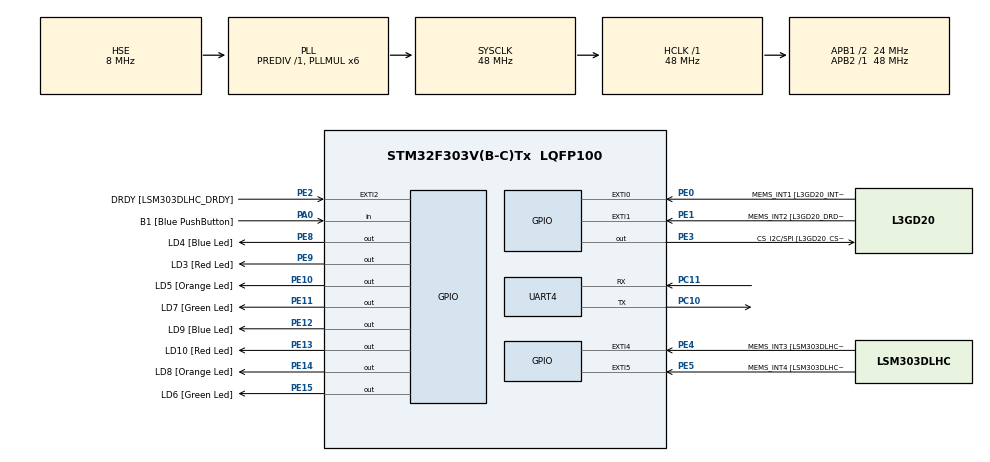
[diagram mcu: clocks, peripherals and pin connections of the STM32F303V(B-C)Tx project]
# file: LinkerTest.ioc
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Mcu.Family=STM32F3
Mcu.Name=STM32F303V(B-C)Tx
Mcu.Package=LQFP100
NVIC.PriorityGroup=NVIC_PRIORITYGROUP_0
PA0.GPIO_Label=B1 [Blue PushButton]
PA0.Signal=GPIO_Input
PA11.GPIO_Label=DM
PA11.Signal=USB_DM
PA12.GPIO_Label=DP
PA12.Signal=USB_DP
PA13.GPIO_Label=SWDIO
PA13.Mode=Serial_Wire
PA13.Signal=SYS_JTMS-SWDIO
PA14.GPIO_Label=SWCLK
PA14.Mode=Serial_Wire
PA14.Signal=SYS_JTCK-SWCLK
PA5.GPIO_Label=SPI1_SCK [L3GD20_SCL/SPC]
PA5.Signal=SPI1_SCK
PA6.GPIO_Label=SPI1_MISO [L3GD20_SA0/SDO]
PA6.Signal=SPI1_MISO
PA7.GPIO_Label=SPI1_MISO [L3GD20_SDA/SDI/SDO]
PA7.Signal=SPI1_MOSI
PB3.GPIO_Label=SWO
PB3.Signal=SYS_JTDO-TRACESWO
PB6.GPIO_Label=I2C1_SCL [LSM303DLHC_SCL]
PB6.GPIO_Pu=GPIO_PULLUP
PB6.Signal=I2C1_SCL
PB7.GPIO_Label=I2C1_SDA [LSM303DLHC_SDA]
PB7.GPIO_Pu=GPIO_PULLUP
PB7.Signal=I2C1_SDA
PC10.Mode=Asynchronous
PC10.Signal=UART4_TX
PC11.Mode=Asynchronous
PC11.Signal=UART4_RX
PC14-OSC32_IN.GPIO_Label=OSC32_IN
PC14-OSC32_IN.Signal=RCC_OSC32_IN
PC15-OSC32_OUT.GPIO_Label=OSC32_OUT
PC15-OSC32_OUT.Signal=RCC_OSC32_OUT
PE0.GPIO_Label=MEMS_INT1 [L3GD20_INT1]
PE0.GPIO_ModeDefaultEXTI=GPIO_MODE_EVT_RISING
PE0.Signal=GPXTI0
PE1.GPIO_Label=MEMS_INT2 [L3GD20_DRDY/INT2]
PE1.GPIO_ModeDefaultEXTI=GPIO_MODE_EVT_RISING
PE1.Signal=GPXTI1
PE10.GPIO_Label=LD5 [Orange Led]
PE10.Signal=GPIO_Output
PE11.GPIO_Label=LD7 [Green Led]
PE11.Signal=GPIO_Output
PE12.GPIO_Label=LD9 [Blue Led]
PE12.Signal=GPIO_Output
PE13.GPIO_Label=LD10 [Red Led]
PE13.Signal=GPIO_Output
PE14.GPIO_Label=LD8 [Orange Led]
PE14.Signal=GPIO_Output
PE15.GPIO_Label=LD6 [Green Led]
PE15.Signal=GPIO_Output
PE2.GPIO_Label=DRDY [LSM303DLHC_DRDY]
PE2.GPIO_ModeDefaultEXTI=GPIO_MODE_EVT_RISING
PE2.Signal=GPXTI2
PE3.GPIO_Label=CS_I2C/SPI [L3GD20_CS_I2C/SPI]
PE3.Signal=GPIO_Output
PE4.GPIO_Label=MEMS_INT3 [LSM303DLHC_INT1]
PE4.GPIO_ModeDefaultEXTI=GPIO_MODE_EVT_RISING
PE4.Signal=GPXTI4
PE5.GPIO_Label=MEMS_INT4 [LSM303DLHC_INT2]
PE5.GPIO_ModeDefaultEXTI=GPIO_MODE_EVT_RISING
PE5.Signal=GPXTI5
PE8.GPIO_Label=LD4 [Blue Led]
PE8.Signal=GPIO_Output
PE9.GPIO_Label=LD3 [Red Led]
PE9.Signal=GPIO_Output
PF0-OSC_IN.GPIO_Label=OSC_IN
PF0-OSC_IN.Mode=HSE-External-Clock-Source
PF0-OSC_IN.Signal=RCC_OSC_IN
PF1-OSC_OUT.GPIO_Label=OSC_OUT
PF1-OSC_OUT.Signal=RCC_OSC_OUT
ProjectManager.HeapSize=0x200
ProjectManager.StackSize=0x400
ProjectManager.TargetToolchain=STM32CubeIDE
RCC.AHBFreq_Value=48000000
RCC.APB1CLKDivider=RCC_HCLK_DIV2
RCC.APB1Freq_Value=24000000
RCC.APB1TimFreq_Value=48000000
RCC.APB2Freq_Value=48000000
RCC.APB2TimFreq_Value=48000000
RCC.CortexFreq_Value=48000000
RCC.HCLKFreq_Value=48000000
RCC.HSE_VALUE=8000000
RCC.HSI_VALUE=8000000
RCC.LSE_VALUE=32768
RCC.PLLMUL=RCC_PLL_MUL6
RCC.PLLSourceVirtual=RCC_PLLSOURCE_HSE
RCC.SYSCLKFreq_VALUE=48000000
RCC.SYSCLKSourceVirtual=RCC_SYSCLKSOURCE_PLLCLK
RCC.USBFreq_Value=48000000
board=STM32F3DISCOVERY

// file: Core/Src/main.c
/* USER CODE BEGIN Header */
/**
  ******************************************************************************
  * @file           : main.c
  * @brief          : Main program body
  ******************************************************************************
  * @attention
  *
  * Copyright (c) 2025 STMicroelectronics.
  * All rights reserved.
  *
  * This software is licensed under terms that can be found in the LICENSE file
  * in the root directory of this software component.
  * If no LICENSE file comes with this software, it is provided AS-IS.
  *
  ******************************************************************************
  */
/* USER CODE END Header */
#include "main.h"
#include "string.h"

/* USER CODE BEGIN PTD */
typedef void (*pFunction)(void);
/* USER CODE END PTD */

UART_HandleTypeDef huart4;

/* USER CODE BEGIN PV */
#define APP_ADDRESS 0x08004000 //Origin of main app.
//#define FLASH_PAGE_SIZE    2048 -
#define MAX_APP_FLASH_SIZE  (256 * 1024 - 16 * 1024) // bootloader 16KB
#define UART_TIMEOUT        1000

/* USER CODE END PV */

void SystemClock_Config(void);
static void MX_GPIO_Init(void);
static void MX_UART4_Init(void);
/* USER CODE BEGIN PFP */
void jump_to_app(void);
uint8_t is_app_valid(void);
void receive_firmware(void);
void erase_app_flash(void);
uint32_t calculate_crc32(uint8_t *data, uint32_t length);  // CRC funkcija

/* USER CODE END PFP */

/* USER CODE BEGIN 0 */
//The origin of the code and Vector table has offset, defined in .ld
/* USER CODE END 0 */

int main(void)
{

  /* MCU Configuration--------------------------------------------------------*/

  /* Reset of all peripherals, Initializes the Flash interface and the Systick. */
  HAL_Init();

  /* Configure the system clock */
  SystemClock_Config();

  /* Initialize all configured peripherals */
  MX_GPIO_Init();
  MX_UART4_Init();
  /* USER CODE BEGIN 2 */
  uint8_t received = 0;
  const char *msg = "BOOT... Wait U-update, E-erase ...\r\n";
  HAL_UART_Transmit(&huart4, (uint8_t *)msg, strlen(msg), HAL_MAX_DELAY);
  HAL_UART_Receive(&huart4, &received, 1, 10000);  // Wait 3s

  if (received == 'U')
  {
      // FW update
      receive_firmware();

      // After update, reset MCU
      NVIC_SystemReset();
  }
  else if (received == 'E')
  {
          erase_app_flash();
          NVIC_SystemReset();
  }
  else
  {
      if (is_app_valid()) {
          jump_to_app();
      } else {
          const char *msg = "No App!\r\n";
          HAL_UART_Transmit(&huart4, (uint8_t *)msg, strlen(msg), HAL_MAX_DELAY);
          while(1);
      }
  }

  /* USER CODE END 2 */

  /* Infinite loop */
  while (1)
  {
  }
}

void SystemClock_Config(void)
{
  RCC_OscInitTypeDef RCC_OscInitStruct = {0};
  RCC_ClkInitTypeDef RCC_ClkInitStruct = {0};
  RCC_PeriphCLKInitTypeDef PeriphClkInit = {0};

  /** Initializes the RCC Oscillators according to the specified parameters
  * in the RCC_OscInitTypeDef structure.
  */
  RCC_OscInitStruct.OscillatorType = RCC_OSCILLATORTYPE_HSE;
  RCC_OscInitStruct.HSEState = RCC_HSE_BYPASS;
  RCC_OscInitStruct.HSEPredivValue = RCC_HSE_PREDIV_DIV1;
  RCC_OscInitStruct.HSIState = RCC_HSI_ON;
  RCC_OscInitStruct.PLL.PLLState = RCC_PLL_ON;
  RCC_OscInitStruct.PLL.PLLSource = RCC_PLLSOURCE_HSE;
  RCC_OscInitStruct.PLL.PLLMUL = RCC_PLL_MUL6;
  if (HAL_RCC_OscConfig(&RCC_OscInitStruct) != HAL_OK)
  {
    Error_Handler();
  }

  /** Initializes the CPU, AHB and APB buses clocks
  */
  RCC_ClkInitStruct.ClockType = RCC_CLOCKTYPE_HCLK|RCC_CLOCKTYPE_SYSCLK
                              |RCC_CLOCKTYPE_PCLK1|RCC_CLOCKTYPE_PCLK2;
  RCC_ClkInitStruct.SYSCLKSource = RCC_SYSCLKSOURCE_PLLCLK;
  RCC_ClkInitStruct.AHBCLKDivider = RCC_SYSCLK_DIV1;
  RCC_ClkInitStruct.APB1CLKDivider = RCC_HCLK_DIV2;
  RCC_ClkInitStruct.APB2CLKDivider = RCC_HCLK_DIV1;

  if (HAL_RCC_ClockConfig(&RCC_ClkInitStruct, FLASH_LATENCY_1) != HAL_OK)
  {
    Error_Handler();
  }
  PeriphClkInit.PeriphClockSelection = RCC_PERIPHCLK_UART4;
  PeriphClkInit.Uart4ClockSelection = RCC_UART4CLKSOURCE_PCLK1;
  if (HAL_RCCEx_PeriphCLKConfig(&PeriphClkInit) != HAL_OK)
  {
    Error_Handler();
  }
}

static void MX_UART4_Init(void)
{

  huart4.Instance = UART4;
  huart4.Init.BaudRate = 115200;
  huart4.Init.WordLength = UART_WORDLENGTH_8B;
  huart4.Init.StopBits = UART_STOPBITS_1;
  huart4.Init.Parity = UART_PARITY_NONE;
  huart4.Init.Mode = UART_MODE_TX_RX;
  huart4.Init.HwFlowCtl = UART_HWCONTROL_NONE;
  huart4.Init.OverSampling = UART_OVERSAMPLING_16;
  huart4.Init.OneBitSampling = UART_ONE_BIT_SAMPLE_DISABLE;
  huart4.AdvancedInit.AdvFeatureInit = UART_ADVFEATURE_NO_INIT;
  if (HAL_UART_Init(&huart4) != HAL_OK)
  {
    Error_Handler();
  }

}

static void MX_GPIO_Init(void)
{
  GPIO_InitTypeDef GPIO_InitStruct = {0};

  /* GPIO Ports Clock Enable */
  __HAL_RCC_GPIOE_CLK_ENABLE();
  __HAL_RCC_GPIOC_CLK_ENABLE();
  __HAL_RCC_GPIOF_CLK_ENABLE();
  __HAL_RCC_GPIOA_CLK_ENABLE();
  __HAL_RCC_GPIOB_CLK_ENABLE();

  /*Configure GPIO pin Output Level */
  HAL_GPIO_WritePin(GPIOE, CS_I2C_SPI_Pin|LD4_Pin|LD3_Pin|LD5_Pin
                          |LD7_Pin|LD9_Pin|LD10_Pin|LD8_Pin
                          |LD6_Pin, GPIO_PIN_RESET);

  /*Configure GPIO pins : DRDY_Pin MEMS_INT3_Pin MEMS_INT4_Pin MEMS_INT1_Pin
                           MEMS_INT2_Pin */
  GPIO_InitStruct.Pin = DRDY_Pin|MEMS_INT3_Pin|MEMS_INT4_Pin|MEMS_INT1_Pin
                          |MEMS_INT2_Pin;
  GPIO_InitStruct.Mode = GPIO_MODE_EVT_RISING;
  GPIO_InitStruct.Pull = GPIO_NOPULL;
  HAL_GPIO_Init(GPIOE, &GPIO_InitStruct);

  /*Configure GPIO pins : CS_I2C_SPI_Pin LD4_Pin LD3_Pin LD5_Pin
                           LD7_Pin LD9_Pin LD10_Pin LD8_Pin
                           LD6_Pin */
  GPIO_InitStruct.Pin = CS_I2C_SPI_Pin|LD4_Pin|LD3_Pin|LD5_Pin
                          |LD7_Pin|LD9_Pin|LD10_Pin|LD8_Pin
                          |LD6_Pin;
  GPIO_InitStruct.Mode = GPIO_MODE_OUTPUT_PP;
  GPIO_InitStruct.Pull = GPIO_NOPULL;
  GPIO_InitStruct.Speed = GPIO_SPEED_FREQ_LOW;
  HAL_GPIO_Init(GPIOE, &GPIO_InitStruct);

  /*Configure GPIO pin : B1_Pin */
  GPIO_InitStruct.Pin = B1_Pin;
  GPIO_InitStruct.Mode = GPIO_MODE_INPUT;
  GPIO_InitStruct.Pull = GPIO_NOPULL;
  HAL_GPIO_Init(B1_GPIO_Port, &GPIO_InitStruct);

  /*Configure GPIO pins : SPI1_SCK_Pin SPI1_MISO_Pin SPI1_MISOA7_Pin */
  GPIO_InitStruct.Pin = SPI1_SCK_Pin|SPI1_MISO_Pin|SPI1_MISOA7_Pin;
  GPIO_InitStruct.Mode = GPIO_MODE_AF_PP;
  GPIO_InitStruct.Pull = GPIO_NOPULL;
  GPIO_InitStruct.Speed = GPIO_SPEED_FREQ_HIGH;
  GPIO_InitStruct.Alternate = GPIO_AF5_SPI1;
  HAL_GPIO_Init(GPIOA, &GPIO_InitStruct);

  /*Configure GPIO pins : DM_Pin DP_Pin */
  GPIO_InitStruct.Pin = DM_Pin|DP_Pin;
  GPIO_InitStruct.Mode = GPIO_MODE_AF_PP;
  GPIO_InitStruct.Pull = GPIO_NOPULL;
  GPIO_InitStruct.Speed = GPIO_SPEED_FREQ_HIGH;
  GPIO_InitStruct.Alternate = GPIO_AF14_USB;
  HAL_GPIO_Init(GPIOA, &GPIO_InitStruct);

  /*Configure GPIO pins : I2C1_SCL_Pin I2C1_SDA_Pin */
  GPIO_InitStruct.Pin = I2C1_SCL_Pin|I2C1_SDA_Pin;
  GPIO_InitStruct.Mode = GPIO_MODE_AF_OD;
  GPIO_InitStruct.Pull = GPIO_PULLUP;
  GPIO_InitStruct.Speed = GPIO_SPEED_FREQ_HIGH;
  GPIO_InitStruct.Alternate = GPIO_AF4_I2C1;
  HAL_GPIO_Init(GPIOB, &GPIO_InitStruct);

}

/* USER CODE BEGIN 4 */
uint8_t is_app_valid(void)
{
    uint32_t sp = *(volatile uint32_t *)APP_ADDRESS;
    return (sp >= 0x20000000 && sp <= 0x2000FFFF);  // RAM STM32F303
}

void jump_to_app(void)
{
    uint32_t app_sp = *(volatile uint32_t *)APP_ADDRESS;
    uint32_t app_reset = *(volatile uint32_t *)(APP_ADDRESS + 4);

    HAL_UART_DeInit(&huart4);
    HAL_RCC_DeInit();
    HAL_DeInit();

    __disable_irq();

    SCB->VTOR = APP_ADDRESS;
    __set_MSP(app_sp);
    ((pFunction)app_reset)();
}

void receive_firmware(void)
{
    HAL_UART_Transmit(&huart4, (uint8_t *)"Bootloader ready\r\n", 18, HAL_MAX_DELAY);

    // 1. Receive FW size
    uint32_t fw_total_size = 0;
    if (HAL_UART_Receive(&huart4, (uint8_t *)&fw_total_size, 4, UART_TIMEOUT) != HAL_OK ||
        fw_total_size == 0 || fw_total_size > MAX_APP_FLASH_SIZE)
    {
        HAL_UART_Transmit(&huart4, (uint8_t *)"Invalid firmware size\r\n", 24, HAL_MAX_DELAY);
        return;
    }

    // 2. Erase Flash block
    HAL_FLASH_Unlock();
    for (uint32_t addr = APP_ADDRESS; addr < (APP_ADDRESS + fw_total_size); addr += FLASH_PAGE_SIZE)
    {
        FLASH_EraseInitTypeDef eraseConfig = {0};
        uint32_t pageError = 0;

        eraseConfig.TypeErase = FLASH_TYPEERASE_PAGES;
        eraseConfig.PageAddress = addr;
        eraseConfig.NbPages = 1;

        if (HAL_FLASHEx_Erase(&eraseConfig, &pageError) != HAL_OK)
        {
            HAL_UART_Transmit(&huart4, (uint8_t *)"Flash erase fail\r\n", 19, HAL_MAX_DELAY);
            HAL_FLASH_Lock();
            return;
        }
    }

    // 3. Receive block and write to Flash
    uint8_t block_buffer[FLASH_PAGE_SIZE];
    uint32_t offset = 0;

    while (offset < fw_total_size)
    {
        uint32_t block_len = 0;
        uint32_t block_crc = 0;
        uint8_t retry = 1;

        while (retry)
        {
            retry = 0;

            // Block length
            if (HAL_UART_Receive(&huart4, (uint8_t *)&block_len, 4, UART_TIMEOUT) != HAL_OK ||
                block_len == 0 || block_len > FLASH_PAGE_SIZE || (offset + block_len > fw_total_size))
            {
                HAL_UART_Transmit(&huart4, (uint8_t *)"RESEND\r\n", 8, HAL_MAX_DELAY);
                retry = 1;
                continue;
            }

            // Receive CRC
            if (HAL_UART_Receive(&huart4, (uint8_t *)&block_crc, 4, UART_TIMEOUT) != HAL_OK)
            {
                HAL_UART_Transmit(&huart4, (uint8_t *)"RESEND\r\n", 8, HAL_MAX_DELAY);
                retry = 1;
                continue;
            }

            // Receive Data
            if (HAL_UART_Receive(&huart4, block_buffer, block_len, 2000) != HAL_OK)
            {
                HAL_UART_Transmit(&huart4, (uint8_t *)"RESEND\r\n", 8, HAL_MAX_DELAY);
                retry = 1;
                continue;
            }

            // CRC check
            uint32_t calc_crc = calculate_crc32(block_buffer, block_len);
            if (calc_crc != block_crc)
            {
                HAL_UART_Transmit(&huart4, (uint8_t *)"RESEND\r\n", 8, HAL_MAX_DELAY);
                retry = 1;
                continue;
            }
        }

        // Write block to flash
        uint32_t flash_addr = APP_ADDRESS + offset;
        for (uint32_t i = 0; i < block_len; i += 4)
        {
            uint32_t word = 0xFFFFFFFF;
            uint32_t remaining = block_len - i;
            if (remaining >= 4)
                memcpy(&word, &block_buffer[i], 4);
            else
                memcpy(&word, &block_buffer[i], remaining);  // padding - No 2kB

            if (HAL_FLASH_Program(FLASH_TYPEPROGRAM_WORD, flash_addr, word) != HAL_OK)
            {
                HAL_UART_Transmit(&huart4, (uint8_t *)"RESEND\r\n", 8, HAL_MAX_DELAY);
                retry = 1;
                break;  // Retry
            }

            flash_addr += 4;
        }

        if (retry)
            continue;

        HAL_UART_Transmit(&huart4, (uint8_t *)"OK\r\n", 4, HAL_MAX_DELAY);
        offset += block_len;
    }

    HAL_FLASH_Lock();

    HAL_UART_Transmit(&huart4, (uint8_t *)"Firmware OK. Resetting...\r\n", 28, HAL_MAX_DELAY);
    HAL_Delay(100);
}

void erase_app_flash(void)
{
    HAL_FLASH_Unlock();

    FLASH_EraseInitTypeDef eraseConfig = {0};
    uint32_t pageError = 0;

    eraseConfig.TypeErase = FLASH_TYPEERASE_PAGES;
    eraseConfig.PageAddress = APP_ADDRESS;
    eraseConfig.NbPages = MAX_APP_FLASH_SIZE / FLASH_PAGE_SIZE;

    if (HAL_FLASHEx_Erase(&eraseConfig, &pageError) != HAL_OK)
    {
    	const char *msg = "Flash erase fail\r\n";
    	HAL_UART_Transmit(&huart4, (uint8_t *)msg, strlen(msg), HAL_MAX_DELAY);
    }
    else
    {
    	const char *msg = "Flash erased\r\n";
    	HAL_UART_Transmit(&huart4, (uint8_t *)msg, strlen(msg), HAL_MAX_DELAY);
    }

    HAL_FLASH_Lock();
}

uint32_t calculate_crc32(uint8_t *data, uint32_t length) //WO HW support
{
    uint32_t crc = 0xFFFFFFFF;
    for (uint32_t i = 0; i < length; i++)
    {
        crc ^= data[i];
        for (uint8_t j = 0; j < 8; j++)
        {
            crc = (crc >> 1) ^ (0xEDB88320 * (crc & 1));
        }
    }
    return ~crc;
}
/* USER CODE END 4 */

void Error_Handler(void)
{
  __disable_irq();
  while (1)
  {
  }
}
